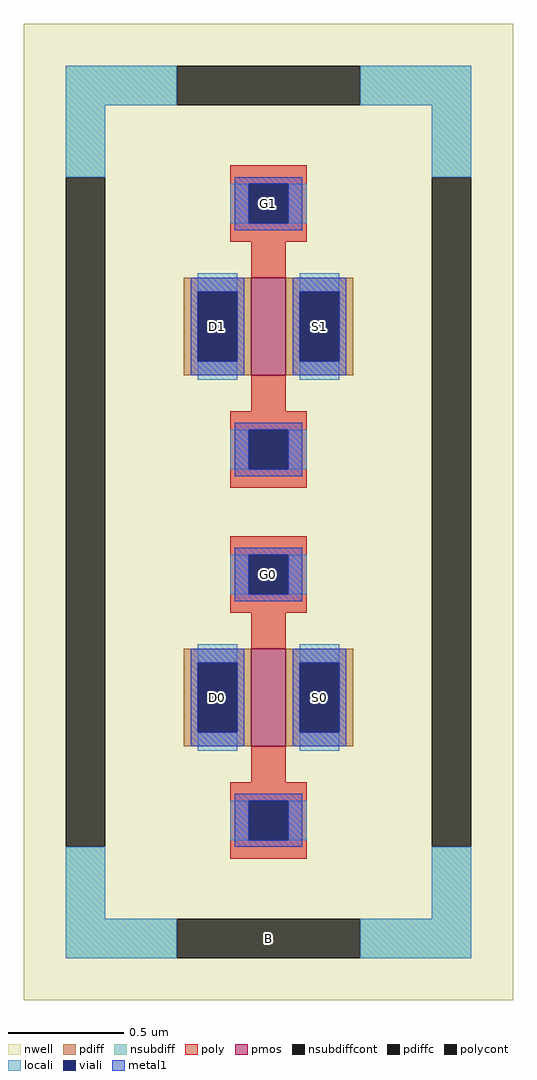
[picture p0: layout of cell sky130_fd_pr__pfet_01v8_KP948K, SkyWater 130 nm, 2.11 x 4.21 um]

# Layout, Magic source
magic
tech sky130A
magscale 1 2
<< nwell >>
rect -211 -421 211 421
<< pmos >>
rect -15 118 15 202
rect -15 -202 15 -118
<< pdiff >>
rect -73 190 -15 202
rect -73 130 -61 190
rect -27 130 -15 190
rect -73 118 -15 130
rect 15 190 73 202
rect 15 130 27 190
rect 61 130 73 190
rect 15 118 73 130
rect -73 -130 -15 -118
rect -73 -190 -61 -130
rect -27 -190 -15 -130
rect -73 -202 -15 -190
rect 15 -130 73 -118
rect 15 -190 27 -130
rect 61 -190 73 -130
rect 15 -202 73 -190
<< pdiffc >>
rect -61 130 -27 190
rect 27 130 61 190
rect -61 -190 -27 -130
rect 27 -190 61 -130
<< nsubdiff >>
rect -175 351 -79 385
rect 79 351 175 385
rect -175 289 -141 351
rect 141 289 175 351
rect -175 -351 -141 -289
rect 141 -351 175 -289
rect -175 -385 -79 -351
rect 79 -385 175 -351
<< nsubdiffcont >>
rect -79 351 79 385
rect -175 -289 -141 289
rect 141 -289 175 289
rect -79 -385 79 -351
<< poly >>
rect -33 283 33 299
rect -33 249 -17 283
rect 17 249 33 283
rect -33 233 33 249
rect -15 202 15 233
rect -15 87 15 118
rect -33 71 33 87
rect -33 37 -17 71
rect 17 37 33 71
rect -33 21 33 37
rect -33 -37 33 -21
rect -33 -71 -17 -37
rect 17 -71 33 -37
rect -33 -87 33 -71
rect -15 -118 15 -87
rect -15 -233 15 -202
rect -33 -249 33 -233
rect -33 -283 -17 -249
rect 17 -283 33 -249
rect -33 -299 33 -283
<< polycont >>
rect -17 249 17 283
rect -17 37 17 71
rect -17 -71 17 -37
rect -17 -283 17 -249
<< locali >>
rect -175 351 -79 385
rect 79 351 175 385
rect -175 289 -141 351
rect 141 289 175 351
rect -33 249 -17 283
rect 17 249 33 283
rect -61 190 -27 206
rect -61 114 -27 130
rect 27 190 61 206
rect 27 114 61 130
rect -33 37 -17 71
rect 17 37 33 71
rect -33 -71 -17 -37
rect 17 -71 33 -37
rect -61 -130 -27 -114
rect -61 -206 -27 -190
rect 27 -130 61 -114
rect 27 -206 61 -190
rect -33 -283 -17 -249
rect 17 -283 33 -249
rect -175 -351 -141 -289
rect 141 -351 175 -289
rect -175 -385 -79 -351
rect 79 -385 175 -351
<< viali >>
rect -17 249 17 283
rect -61 130 -27 190
rect 27 130 61 190
rect -17 37 17 71
rect -17 -71 17 -37
rect -61 -190 -27 -130
rect 27 -190 61 -130
rect -17 -283 17 -249
<< metal1 >>
rect -29 283 29 289
rect -29 249 -17 283
rect 17 249 29 283
rect -29 243 29 249
rect -67 190 -21 202
rect -67 130 -61 190
rect -27 130 -21 190
rect -67 118 -21 130
rect 21 190 67 202
rect 21 130 27 190
rect 61 130 67 190
rect 21 118 67 130
rect -29 71 29 77
rect -29 37 -17 71
rect 17 37 29 71
rect -29 31 29 37
rect -29 -37 29 -31
rect -29 -71 -17 -37
rect 17 -71 29 -37
rect -29 -77 29 -71
rect -67 -130 -21 -118
rect -67 -190 -61 -130
rect -27 -190 -21 -130
rect -67 -202 -21 -190
rect 21 -130 67 -118
rect 21 -190 27 -130
rect 61 -190 67 -130
rect 21 -202 67 -190
rect -29 -249 29 -243
rect -29 -283 -17 -249
rect 17 -283 29 -249
rect -29 -289 29 -283
<< labels >>
rlabel nsubdiffcont 0 -368 0 -368 0 B
port 1 nsew
rlabel pdiffc -44 -160 -44 -160 0 D0
port 2 nsew
rlabel pdiffc 44 -160 44 -160 0 S0
port 3 nsew
rlabel polycont 0 -54 0 -54 0 G0
port 4 nsew
rlabel pdiffc -44 160 -44 160 0 D1
port 5 nsew
rlabel pdiffc 44 160 44 160 0 S1
port 6 nsew
rlabel polycont 0 266 0 266 0 G1
port 7 nsew
<< properties >>
string FIXED_BBOX -158 -368 158 368
string gencell sky130_fd_pr__pfet_01v8
string library sky130
string parameters w 0.42 l 0.15 m 2 nf 1 diffcov 100 polycov 100 guard 1 glc 1 grc 1 gtc 1 gbc 1 tbcov 100 rlcov 100 topc 1 botc 1 poverlap 0 doverlap 1 lmin 0.15 wmin 0.42 class mosfet compatible {sky130_fd_pr__pfet_01v8  sky130_fd_pr__pfet_01v8_lvt sky130_fd_pr__pfet_01v8_hvt  sky130_fd_pr__pfet_g5v0d10v5} full_metal 1 conn_gates 0 viasrc 100 viadrn 100 viagate 100 viagb 0 viagr 0 viagl 0 viagt 0 doports 1
<< end >>
